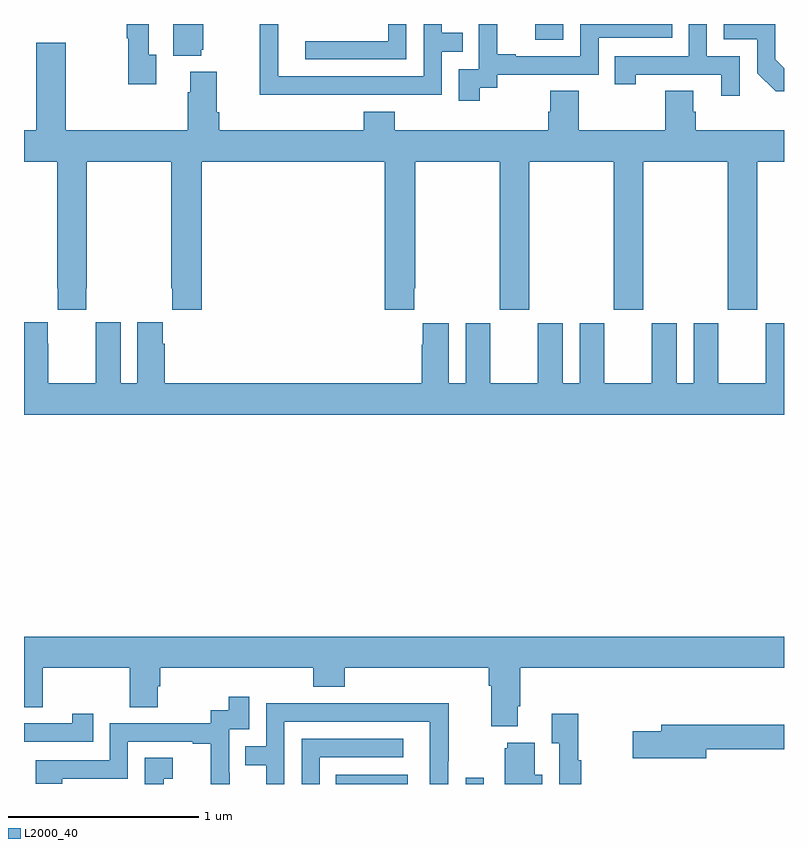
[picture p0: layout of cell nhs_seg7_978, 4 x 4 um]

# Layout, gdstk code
import gdstk
lib = gdstk.Library(unit=1e-6, precision=1e-09)
def R(c, l, rs):  # rectangles x0, y0, x1, y1
    for r in rs: c.add(gdstk.rectangle(r[:2], r[2:], *l))
def P(c, l, *ps):  # polygons
    for p in ps: c.add(gdstk.Polygon(p, *l))
L2000_40 = (2000, 40)

nhs_seg7_978 = lib.new_cell('nhs_seg7_978')
R(nhs_seg7_978, L2000_40, [(184.642,1004,185.02,1004.05), (185.325,1004,185.421,1004.032), (185.691,1007.916,185.838,1008)])
P(nhs_seg7_978, L2000_40, [(185.398,1007.665),(185.49,1007.665),(185.49,1007.733),(186.024,1007.733),(186.024,1007.928),(186.413,1007.928),(186.413,1008),(185.928,1008),(185.928,1007.829),(185.587,1007.829),(185.587,1007.842),(185.492,1007.842),(185.492,1008),(185.393,1008),(185.393,1007.993),(185.394,1007.993),(185.394,1007.763),(185.289,1007.763),(185.289,1007.595),(185.398,1007.595)],
  [(186.768,1007.829),(186.594,1007.829),(186.594,1008),(186.498,1008),(186.498,1007.829),(186.109,1007.829),(186.109,1007.682),(186.22,1007.682),(186.22,1007.733),(186.671,1007.733),(186.671,1007.622),(186.768,1007.622)],
  [(184.703,1007.628),(185.199,1007.628),(185.199,1007.853),(185.309,1007.853),(185.309,1007.954),(185.199,1007.954),(185.199,1008),(185.103,1008),(185.103,1007.724),(184.338,1007.724),(184.338,1008),(184.242,1008),(184.242,1007.933),(184.24,1007.933),(184.24,1007.627),(184.703,1007.627)],
  [(183.697,1007.838),(183.657,1007.838),(183.657,1008),(183.541,1008),(183.541,1007.926),(183.549,1007.926),(183.549,1007.682),(183.697,1007.682)],
  [(187,1007.768),(186.954,1007.814),(186.954,1008),(186.684,1008),(186.684,1007.919),(186.858,1007.919),(186.858,1007.742),(186.956,1007.645),(187,1007.645)],
  [(183.932,1007.865),(183.943,1007.865),(183.943,1008),(183.785,1008),(183.785,1007.834),(183.932,1007.834)],
  [(185.013,1008),(184.917,1008),(184.917,1007.91),(184.479,1007.91),(184.479,1007.814),(185.013,1007.814)],
  [(183.327,1006.609),(183.33,1006.609),(183.33,1007.276),(183.775,1007.276),(183.775,1006.609),(183.781,1006.609),(183.781,1006.497),(183.935,1006.497),(183.935,1007.276),(184.898,1007.276),(184.898,1006.497),(185.053,1006.497),(185.053,1006.609),(185.058,1006.609),(185.058,1007.276),(185.503,1007.276),(185.503,1006.497),(185.658,1006.497),(185.658,1007.276),(186.103,1007.276),(186.103,1006.497),(186.258,1006.497),(186.258,1007.276),(186.703,1007.276),(186.703,1006.497),(186.858,1006.497),(186.858,1007.276),(187,1007.276),(187,1007.44),(186.536,1007.44),(186.536,1007.538),(186.523,1007.538),(186.523,1007.648),(186.376,1007.648),(186.376,1007.44),(185.919,1007.44),(185.919,1007.648),(185.771,1007.648),(185.771,1007.538),(185.759,1007.538),(185.759,1007.44),(184.952,1007.44),(184.952,1007.539),(184.787,1007.539),(184.787,1007.44),(184.028,1007.44),(184.028,1007.536),(184.015,1007.536),(184.015,1007.749),(183.875,1007.749),(183.875,1007.642),(183.863,1007.642),(183.863,1007.44),(183.219,1007.44),(183.219,1007.902),(183.064,1007.902),(183.064,1007.44),(183,1007.44),(183,1007.276),(183.175,1007.276),(183.175,1006.609),(183.177,1006.609),(183.177,1006.497),(183.327,1006.497)],
  [(187,1006.426),(186.905,1006.426),(186.905,1006.108),(186.655,1006.108),(186.655,1006.426),(186.524,1006.426),(186.524,1006.108),(186.436,1006.108),(186.436,1006.426),(186.305,1006.426),(186.305,1006.108),(186.055,1006.108),(186.055,1006.426),(185.924,1006.426),(185.924,1006.108),(185.836,1006.108),(185.836,1006.426),(185.705,1006.426),(185.705,1006.108),(185.455,1006.108),(185.455,1006.426),(185.324,1006.426),(185.324,1006.108),(185.236,1006.108),(185.236,1006.426),(185.099,1006.426),(185.099,1006.313),(185.093,1006.313),(185.093,1006.108),(183.74,1006.108),(183.74,1006.316),(183.73,1006.316),(183.73,1006.429),(183.596,1006.429),(183.596,1006.108),(183.508,1006.108),(183.508,1006.429),(183.378,1006.429),(183.378,1006.316),(183.377,1006.316),(183.377,1006.108),(183.127,1006.108),(183.127,1006.316),(183.126,1006.316),(183.126,1006.429),(183,1006.429),(183,1005.944),(187,1005.944)],
  [(185.599,1004.41),(185.612,1004.41),(185.612,1004.612),(187,1004.612),(187,1004.776),(183,1004.776),(183,1004.404),(183.099,1004.404),(183.099,1004.612),(183.556,1004.612),(183.556,1004.404),(183.703,1004.404),(183.703,1004.514),(183.716,1004.514),(183.716,1004.612),(184.523,1004.612),(184.523,1004.513),(184.688,1004.513),(184.688,1004.612),(185.447,1004.612),(185.447,1004.516),(185.459,1004.516),(185.459,1004.303),(185.599,1004.303)],
  [(184.082,1004.06),(184.08,1004.06),(184.08,1004.289),(184.185,1004.289),(184.185,1004.458),(184.077,1004.458),(184.077,1004.388),(183.984,1004.388),(183.984,1004.319),(183.45,1004.319),(183.45,1004.124),(183.061,1004.124),(183.061,1004.001),(183.201,1004.001),(183.201,1004.028),(183.546,1004.028),(183.546,1004.223),(183.887,1004.223),(183.887,1004.211),(183.983,1004.211),(183.983,1004),(184.082,1004)],
  [(184.371,1004.328),(185.136,1004.328),(185.136,1004),(185.232,1004),(185.232,1004.119),(185.235,1004.119),(185.235,1004.426),(184.771,1004.426),(184.771,1004.424),(184.275,1004.424),(184.275,1004.199),(184.165,1004.199),(184.165,1004.098),(184.275,1004.098),(184.275,1004),(184.371,1004)],
  [(183.365,1004.371),(183.254,1004.371),(183.254,1004.319),(183,1004.319),(183,1004.223),(183.365,1004.223)],
  [(185.933,1004.126),(185.918,1004.126),(185.918,1004.371),(185.777,1004.371),(185.777,1004.215),(185.817,1004.215),(185.817,1004),(185.933,1004)],
  [(186.592,1004.182),(187,1004.182),(187,1004.311),(186.353,1004.311),(186.353,1004.277),(186.204,1004.277),(186.204,1004.135),(186.592,1004.135)],
  [(184.557,1004.142),(184.996,1004.142),(184.996,1004.238),(184.461,1004.238),(184.461,1004),(184.557,1004)],
  [(185.728,1004.05),(185.689,1004.05),(185.689,1004.218),(185.543,1004.218),(185.543,1004.187),(185.531,1004.187),(185.531,1004),(185.728,1004)],
  [(183.735,1004.027),(183.784,1004.027),(183.784,1004.137),(183.636,1004.137),(183.636,1004),(183.735,1004)])

lib.write_gds('nhs_seg7_978.gds')
